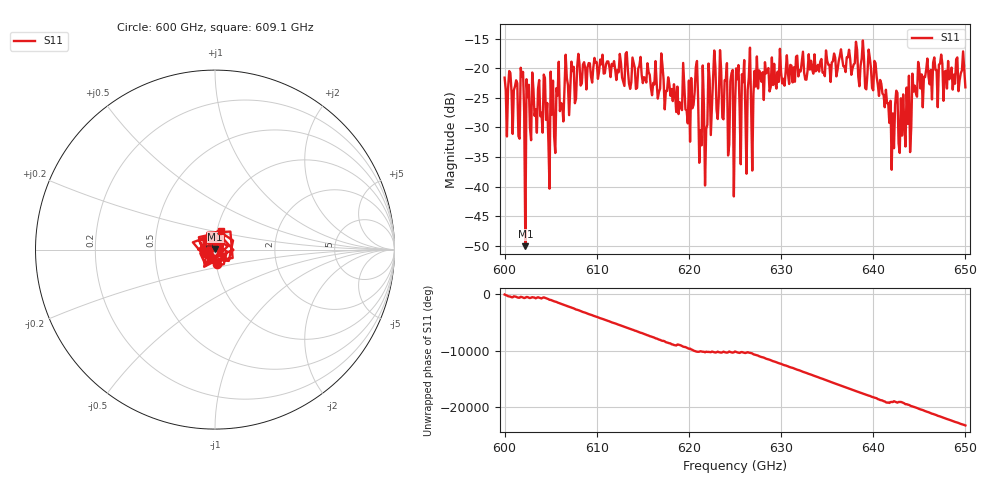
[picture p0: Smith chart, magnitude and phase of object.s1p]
!Created with skrf (http://scikit-rf.org).
# GHz S MA R 50.0
!freq magS11 angS11
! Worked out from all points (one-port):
!   401 points, 600 GHz to 650 GHz, reference 50 ohm
!   lowest |S11| = -50.0 dB at 602.2 GHz (marker M1), VSWR 1.01, Z = 50.1 + j0.309 ohm
!   |S11| at or under -10 dB: start of sweep to end of sweep
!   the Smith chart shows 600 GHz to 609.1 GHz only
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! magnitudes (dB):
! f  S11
! 600 GHz  -21.6
! 601.9 GHz  -21.5
! 602.2 GHz  -50.0
! 602.9 GHz  -32.1
! 604.4 GHz  -21.6
! 604.6 GHz  -25.9
! 605.9 GHz  -18.9
! 606.2 GHz  -26.0
! 608.1 GHz  -19.3
! 612.5 GHz  -17.6
! 617 GHz  -17.5
! 618.8 GHz  -23.1
! 619.9 GHz  -29.3
! 620.8 GHz  -19.8
! 621.5 GHz  -19.5
! 622.8 GHz  -17.0
! 625 GHz  -26.5
! 625.2 GHz  -21.9
! 627 GHz  -24.3
! 627.4 GHz  -18.0
! 631.2 GHz  -22.4
! 637.5 GHz  -18.4
! 640.4 GHz  -21.5
! 642 GHz  -37.1
! 642.4 GHz  -26.2
! 643.8 GHz  -29.4
! 645.8 GHz  -20.2
! 650 GHz  -23.2
